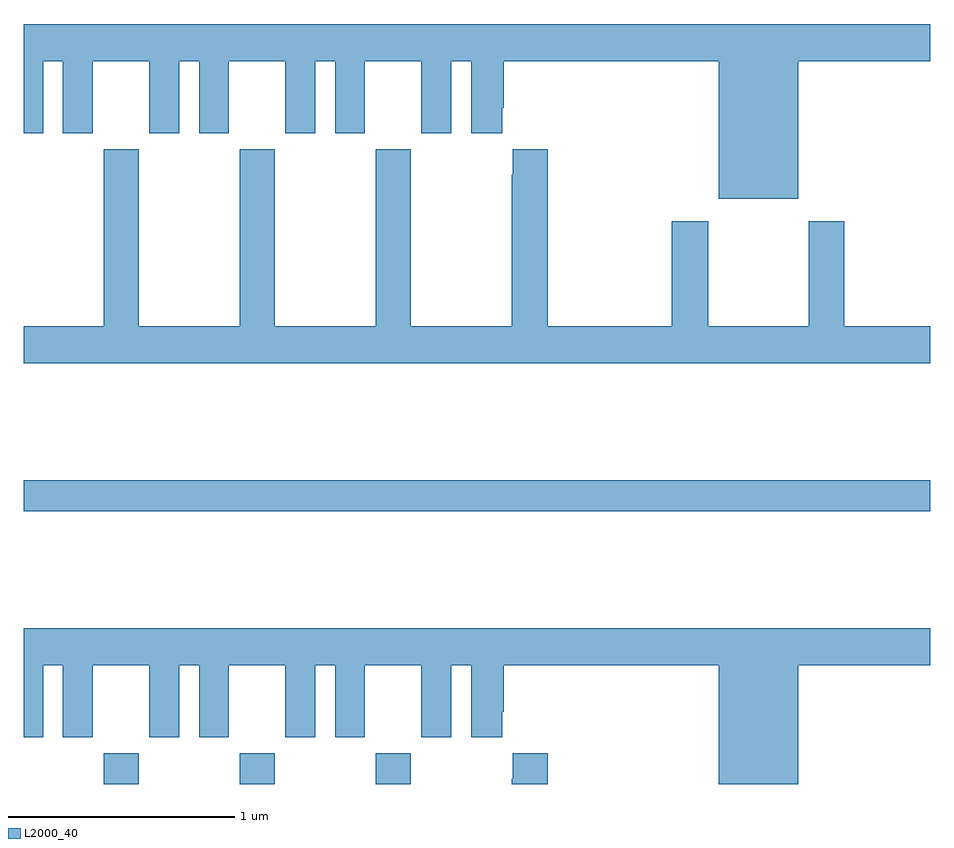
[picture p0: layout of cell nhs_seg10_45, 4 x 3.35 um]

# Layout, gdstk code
import gdstk
lib = gdstk.Library(unit=1e-6, precision=1e-09)
def R(c, l, rs):  # rectangles x0, y0, x1, y1
    for r in rs: c.add(gdstk.rectangle(r[:2], r[2:], *l))
def A(c, l, x, y, w, h, nx, ny, dx, dy):  # array of equal rectangles
    R(c, l, [(x+i*dx, y+j*dy, x+i*dx+w, y+j*dy+h) for i in range(nx) for j in range(ny)])
def P(c, l, *ps):  # polygons
    for p in ps: c.add(gdstk.Polygon(p, *l))
L2000_40 = (2000, 40)

nhs_seg10_45 = lib.new_cell('nhs_seg10_45')
A(nhs_seg10_45, L2000_40, 113.353, 1258.5, 0.155, 0.136, 3, 1, 0.6, 0)
R(nhs_seg10_45, L2000_40, [(113,1259.704,117,1259.84)])
P(nhs_seg10_45, L2000_40, [(116.416,1261.688),(117,1261.688),(117,1261.852),(113,1261.852),(113,1261.371),(113.086,1261.371),(113.086,1261.688),(113.174,1261.688),(113.174,1261.371),(113.305,1261.371),(113.305,1261.688),(113.555,1261.688),(113.555,1261.371),(113.686,1261.371),(113.686,1261.688),(113.774,1261.688),(113.774,1261.371),(113.905,1261.371),(113.905,1261.688),(114.155,1261.688),(114.155,1261.371),(114.286,1261.371),(114.286,1261.688),(114.374,1261.688),(114.374,1261.371),(114.505,1261.371),(114.505,1261.688),(114.755,1261.688),(114.755,1261.371),(114.886,1261.371),(114.886,1261.688),(114.974,1261.688),(114.974,1261.371),(115.111,1261.371),(115.111,1261.483),(115.118,1261.483),(115.118,1261.688),(116.066,1261.688),(116.066,1261.082),(116.416,1261.082)],
  [(117,1260.52),(116.619,1260.52),(116.619,1260.982),(116.464,1260.982),(116.464,1260.52),(116.019,1260.52),(116.019,1260.982),(115.859,1260.982),(115.859,1260.52),(115.313,1260.52),(115.313,1261.3),(115.157,1261.3),(115.157,1261.187),(115.153,1261.187),(115.153,1260.52),(114.708,1260.52),(114.708,1261.3),(114.553,1261.3),(114.553,1260.52),(114.108,1260.52),(114.108,1261.3),(113.953,1261.3),(113.953,1260.52),(113.508,1260.52),(113.508,1261.3),(113.353,1261.3),(113.353,1260.52),(113,1260.52),(113,1260.356),(117,1260.356)],
  [(116.416,1259.024),(117,1259.024),(117,1259.188),(113,1259.188),(113,1258.707),(113.086,1258.707),(113.086,1259.024),(113.174,1259.024),(113.174,1258.707),(113.305,1258.707),(113.305,1259.024),(113.555,1259.024),(113.555,1258.707),(113.686,1258.707),(113.686,1259.024),(113.774,1259.024),(113.774,1258.707),(113.905,1258.707),(113.905,1259.024),(114.155,1259.024),(114.155,1258.707),(114.286,1258.707),(114.286,1259.024),(114.374,1259.024),(114.374,1258.707),(114.505,1258.707),(114.505,1259.024),(114.755,1259.024),(114.755,1258.707),(114.886,1258.707),(114.886,1259.024),(114.974,1259.024),(114.974,1258.707),(115.111,1258.707),(115.111,1258.819),(115.118,1258.819),(115.118,1259.024),(116.066,1259.024),(116.066,1258.5),(116.416,1258.5)],
  [(115.313,1258.636),(115.157,1258.636),(115.157,1258.523),(115.153,1258.523),(115.153,1258.5),(115.313,1258.5)])

lib.write_gds('nhs_seg10_45.gds')
